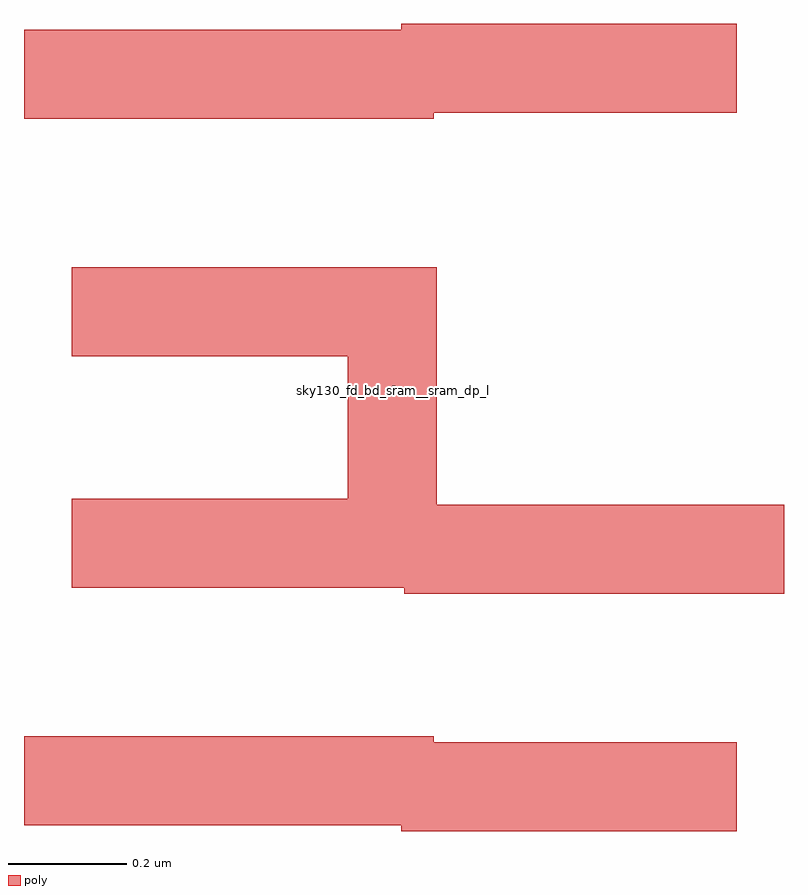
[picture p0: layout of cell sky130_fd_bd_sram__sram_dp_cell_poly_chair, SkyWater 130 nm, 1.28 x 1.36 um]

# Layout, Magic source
magic
tech sky130A
magscale 1 2
<< poly >>
rect 16 182 139 212
rect 109 134 139 182
rect 16 132 139 134
rect 16 104 256 132
rect 128 102 256 104
use sky130_fd_bd_sram__sram_dp_licon_1  sky130_fd_bd_sram__sram_dp_licon_1_0
transform 1 0 124 0 1 171
box 0 -1 1 1
use sky130_fd_bd_sram__sram_dp_cell_half_wl  sky130_fd_bd_sram__sram_dp_cell_half_wl_0
transform 1 0 0 0 -1 292
box 0 -2 240 30
use sky130_fd_bd_sram__sram_dp_cell_half_wl  sky130_fd_bd_sram__sram_dp_cell_half_wl_1
transform 1 0 0 0 1 24
box 0 -2 240 30
<< properties >>
string GDS_FILE sky130_fd_bd_sram__sram_dp_cell_poly_chair.gds
string GDS_END 1066
string GDS_START 678
<< end >>

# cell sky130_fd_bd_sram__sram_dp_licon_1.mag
magic
tech sky130A
magscale 1 2
use sky130_fd_bd_sram__sram_dp_licon_05  sky130_fd_bd_sram__sram_dp_licon_05_0
transform 1 0 0 0 -1 0
box 0 0 1 1
use sky130_fd_bd_sram__sram_dp_licon_05  sky130_fd_bd_sram__sram_dp_licon_05_1
transform 1 0 0 0 1 0
box 0 0 1 1
<< properties >>
string GDS_FILE sky130_fd_bd_sram__sram_dp_licon_1.gds
string GDS_END 424
string GDS_START 294
<< end >>

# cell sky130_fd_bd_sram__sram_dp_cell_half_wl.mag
magic
tech sky130A
magscale 1 2
<< poly >>
rect 0 28 138 30
rect 0 0 240 28
rect 127 -2 240 0
<< properties >>
string GDS_FILE sky130_fd_bd_sram__sram_dp_cell_half_wl.gds
string GDS_END 270
string GDS_START 170
<< end >>
